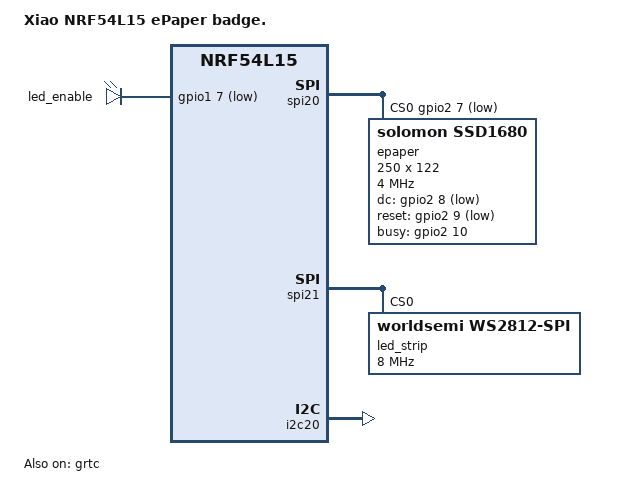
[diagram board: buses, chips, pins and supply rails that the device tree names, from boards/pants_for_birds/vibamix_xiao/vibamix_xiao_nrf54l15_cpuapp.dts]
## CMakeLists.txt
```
#
# Copyright (c) 2025 Nordic Semiconductor ASA
#
# SPDX-License-Identifier: LicenseRef-Nordic-5-Clause
#

cmake_minimum_required(VERSION 3.20.0)

find_package(Zephyr REQUIRED HINTS $ENV{ZEPHYR_BASE})
project(vibamix)

target_sources(app PRIVATE src/main.cpp)
```

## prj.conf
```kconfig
#
# Copyright (c) 2018 Nordic Semiconductor
#
# SPDX-License-Identifier: LicenseRef-Nordic-5-Clause
#
CONFIG_NCS_SAMPLES_DEFAULTS=y

CONFIG_BT=y
CONFIG_BT_PERIPHERAL=y
CONFIG_BT_DEVICE_NAME="Nordic_LBS"

# Enable the LBS service
CONFIG_BT_LBS=y
CONFIG_BT_LBS_POLL_BUTTON=y
CONFIG_DK_LIBRARY=y

CONFIG_SYSTEM_WORKQUEUE_STACK_SIZE=2048

CONFIG_CPP=y

CONFIG_SPI=y
CONFIG_GPIO=y
```

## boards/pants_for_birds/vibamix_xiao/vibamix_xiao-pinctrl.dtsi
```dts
#include <dt-bindings/pinctrl/nrf-pinctrl.h>

&pinctrl {
	/* ePaper display SPI bus - MISO omitted, display is write-only */
	spi20_default: spi20_default {
		group1 {
			psels = <NRF_PSEL(SPIM_SCK,  2, 1)>,	/* P2.01 SPI_CLK  */
				<NRF_PSEL(SPIM_MOSI, 2, 2)>;	/* P2.02 SPI_MOSI */
		};
	};

	spi20_sleep: spi20_sleep {
		group1 {
			psels = <NRF_PSEL(SPIM_SCK,  2, 1)>,
				<NRF_PSEL(SPIM_MOSI, 2, 2)>;
			low-power-enable;
		};
	};

	/* WS2812 LED strip - SCK routed to NC P1.05, only MOSI (DIN) is wired */
	spi21_default: spi21_default {
		group1 {
			psels = <NRF_PSEL(SPIM_MOSI, 1, 6)>,	/* P1.06 LED_DIN  */
				<NRF_PSEL(SPIM_SCK,  1, 5)>;	/* P1.05 NC       */
		};
	};

	spi21_sleep: spi21_sleep {
		group1 {
			psels = <NRF_PSEL(SPIM_MOSI, 1, 6)>,
				<NRF_PSEL(SPIM_SCK,  1, 5)>;
			low-power-enable;
		};
	};

	/* Light sensor I2C bus */
	i2c20_default: i2c20_default {
		group1 {
			psels = <NRF_PSEL(TWIM_SDA, 1, 10)>,	/* P1.10 LIGHT_SENSOR_SDA */
				<NRF_PSEL(TWIM_SCL, 1, 11)>;	/* P1.11 LIGHT_SENSOR_SCL */
		};
	};

	i2c20_sleep: i2c20_sleep {
		group1 {
			psels = <NRF_PSEL(TWIM_SDA, 1, 10)>,
				<NRF_PSEL(TWIM_SCL, 1, 11)>;
			low-power-enable;
		};
	};
};
```

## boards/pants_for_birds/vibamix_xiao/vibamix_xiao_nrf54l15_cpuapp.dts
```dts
/dts-v1/;

#include <nordic/nrf54l15_cpuapp.dtsi>
#include "vibamix_xiao-pinctrl.dtsi"
#include <zephyr/dt-bindings/led/led.h>

/ {
	model = "Xiao NRF54L15 ePaper badge.";
	compatible = "pants_for_birds,vibamix-xiao-cpuapp";

	chosen {
		zephyr,code-partition = &slot0_partition;
		zephyr,sram = &cpuapp_sram;
		zephyr,flash = &cpuapp_rram;
		zephyr,flash-controller = &rram_controller;
	};

	/* LED strip power enable - active low */
	leds {
		compatible = "gpio-leds";
		led_enable: led_enable {
			gpios = <&gpio1 7 GPIO_ACTIVE_LOW>;	/* P1.07 LED_ENABLE */
		};
	};

	aliases {
		led-strip = &led_strip;
		epaper    = &epaper;
	};
};

/* ePaper display on SPI20 */
&spi20 {
	compatible = "nordic,nrf-spim";
	status = "okay";
	pinctrl-0 = <&spi20_default>;
	pinctrl-1 = <&spi20_sleep>;
	pinctrl-names = "default", "sleep";
	cs-gpios = <&gpio2 7 GPIO_ACTIVE_LOW>;		/* P2.07 SCREEN_CS  */

	epaper: epaper@0 {
		compatible = "solomon,ssd1680";		/* update to match your controller */
		reg = <0>;
		spi-max-frequency = <4000000>;
		width = <250>;
		height = <122>;
		dc-gpios   = <&gpio2 8 GPIO_ACTIVE_LOW>;	/* P2.08 SCREEN_D/C  */
		reset-gpios = <&gpio2 9 GPIO_ACTIVE_LOW>;	/* P2.09 SCREEN_RES  */
		busy-gpios  = <&gpio2 10 GPIO_ACTIVE_HIGH>;	/* P2.10 SCREEN_BUSY */
	};
};

/* WS2812 LED strip on SPI21 - only MOSI (P1.06) is physically connected */
&spi21 {
	compatible = "nordic,nrf-spim";
	status = "okay";
	pinctrl-0 = <&spi21_default>;
	pinctrl-1 = <&spi21_sleep>;
	pinctrl-names = "default", "sleep";

	led_strip: ws2812@0 {
		compatible = "worldsemi,ws2812-spi";
		reg = <0>;
		spi-max-frequency = <DT_FREQ_M(8)>;
		chain-length = <1>;			/* update to your actual LED count */
		color-mapping = <LED_COLOR_ID_GREEN
				 LED_COLOR_ID_RED
				 LED_COLOR_ID_BLUE>;
		spi-one-frame  = <0x70>;
		spi-zero-frame = <0x40>;
	};
};

/* Light sensor I2C bus */
&i2c20 {
	compatible = "nordic,nrf-twim";
	status = "okay";
	pinctrl-0 = <&i2c20_default>;
	pinctrl-1 = <&i2c20_sleep>;
	pinctrl-names = "default", "sleep";
	/* add sensor child node here once you know the I2C address and compatible */
};

&grtc {
	owned-channels = <0 1 2 3 4 5 6 7 8 9 10 11>;
	/* Channels 7-11 reserved for Zero Latency IRQs, 3-4 for FLPR */
	child-owned-channels = <3 4 7 8 9 10 11>;
	status = "okay";
};

&cpuapp_sram {
	status = "okay";
};

&cpuapp_rram {
	partitions {
		compatible = "fixed-partitions";
		#address-cells = <1>;
		#size-cells = <1>;

		boot_partition: partition@0 {
			label = "mcuboot";
			reg = <0x0 DT_SIZE_K(64)>;
		};

		slot0_partition: partition@10000 {
			label = "image-0";
			reg = <0x10000 DT_SIZE_K(664)>;
		};

		slot1_partition: partition@b6000 {
			label = "image-1";
			reg = <0xb6000 DT_SIZE_K(664)>;
		};

		storage_partition: partition@15c000 {
			label = "storage";
			reg = <0x15c000 DT_SIZE_K(36)>;
		};
	};
};
```

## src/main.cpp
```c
/*
 * Copyright (c) 2025 Nordic Semiconductor ASA
 *
 * SPDX-License-Identifier: LicenseRef-Nordic-5-Clause
 */

#include <bm/bm_buttons.h>

#include <zephyr/kernel.h>
#include <zephyr/logging/log.h>
#include <zephyr/logging/log_ctrl.h>

#include <hal/nrf_gpio.h>
#include <board-config.h>

LOG_MODULE_REGISTER(sample, CONFIG_SAMPLE_BUTTONS_LOG_LEVEL);

static volatile bool running;

static void button_handler(uint8_t pin, uint8_t action)
{
	LOG_INF("Button event callback: %d, %d", pin, action);

	if (pin == BOARD_PIN_BTN_3)
	{
		running = false;
	}
}

int main(void)
{
	int err;

	LOG_INF("Buttons sample started");

	running = true;

	struct bm_buttons_config configs[] = {
		{
			.pin_number = BOARD_PIN_BTN_0,
			.active_state = BM_BUTTONS_ACTIVE_LOW,
			.pull_config = BM_BUTTONS_PIN_PULLUP,
			.handler = button_handler,
		},
		{
			.pin_number = BOARD_PIN_BTN_1,
			.active_state = BM_BUTTONS_ACTIVE_LOW,
			.pull_config = BM_BUTTONS_PIN_PULLUP,
			.handler = button_handler,
		},
		{
			.pin_number = BOARD_PIN_BTN_2,
			.active_state = BM_BUTTONS_ACTIVE_LOW,
			.pull_config = BM_BUTTONS_PIN_PULLUP,
			.handler = button_handler,
		},
		{
			.pin_number = BOARD_PIN_BTN_3,
			.active_state = BM_BUTTONS_ACTIVE_LOW,
			.pull_config = BM_BUTTONS_PIN_PULLUP,
			.handler = button_handler,
		},
	};

	err = bm_buttons_init(configs, ARRAY_SIZE(configs), BM_BUTTONS_DETECTION_DELAY_MIN_US);
	if (err)
	{
		LOG_ERR("Failed to initialize buttons, err %d", err);
		goto idle;
	}

	err = bm_buttons_enable();
	if (err)
	{
		LOG_ERR("Failed to enable buttons, err %d", err);
		goto idle;
	}

	nrf_gpio_cfg_output(BOARD_PIN_LED_0);
	nrf_gpio_pin_write(BOARD_PIN_LED_0, BOARD_LED_ACTIVE_STATE);

	LOG_INF("Buttons sample initialized, press button 3 to terminate");

	while (running)
	{
		log_flush();

		k_cpu_idle();
	}

	err = bm_buttons_deinit();
	if (err)
	{
		LOG_ERR("Failed to deinitialize buttons, err %d", err);
		goto idle;
	}

	LOG_INF("Bye");

idle:
	while (true)
	{
		log_flush();

		k_cpu_idle();
	}

	return 0;
}
```
